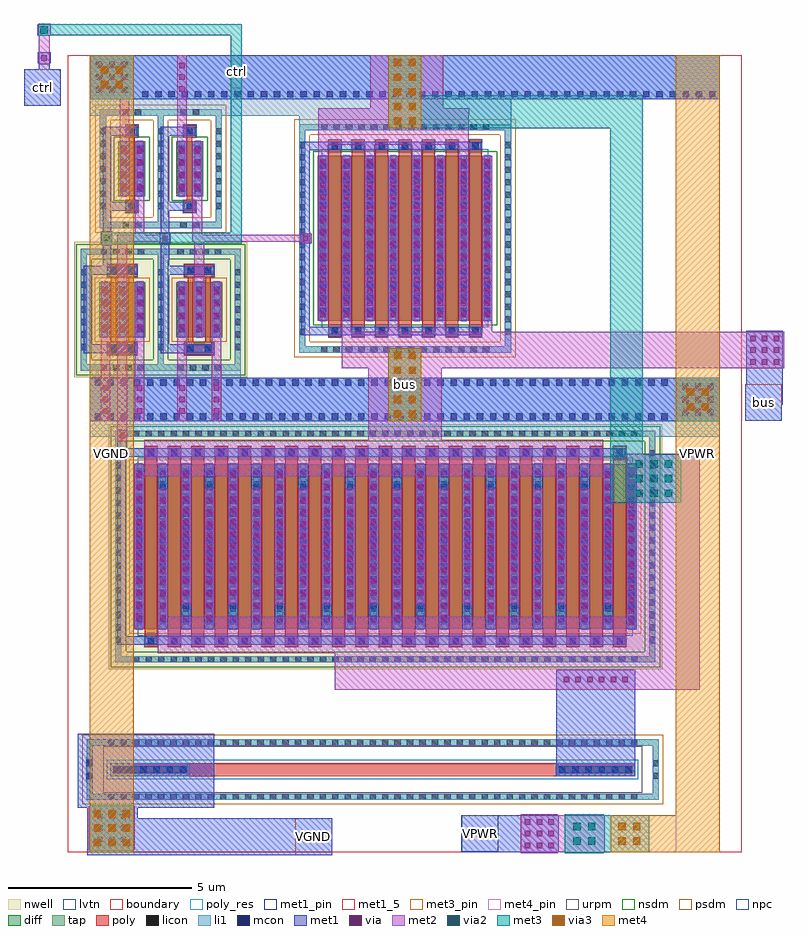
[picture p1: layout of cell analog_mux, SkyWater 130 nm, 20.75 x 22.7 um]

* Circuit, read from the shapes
.subckt analog_mux VGND VPWR bus ctrl
XM1 n1 ctrl VGND VGND sky130_fd_pr__nfet_01v8 w=1.5 l=0.15
XM2 n2 n1 VGND VGND sky130_fd_pr__nfet_01v8 w=1.5 l=0.15
XM3 bus n2 n3 VGND sky130_fd_pr__nfet_01v8_lvt w=4.5 l=0.35 m=7
XM4 n1 ctrl VPWR VPWR sky130_fd_pr__pfet_01v8 w=1.5 l=0.15 m=2
XM5 n3 n1 bus VPWR sky130_fd_pr__pfet_01v8_lvt w=4.5 l=0.35 m=21
XM6 n2 n1 VPWR VPWR sky130_fd_pr__pfet_01v8 w=1.5 l=0.15 m=2
XR7 n3 VGND VGND sky130_fd_pr__res_xhigh_po w=0.35 l=10
.ends

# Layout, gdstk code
from math import pi, radians
import gdstk
lib = gdstk.Library(unit=1e-6, precision=1e-09)
def R(c, l, rs):  # rectangles x0, y0, x1, y1
    for r in rs: c.add(gdstk.rectangle(r[:2], r[2:], *l))
def A(c, l, x, y, w, h, nx, ny, dx, dy):  # array of equal rectangles
    R(c, l, [(x+i*dx, y+j*dy, x+i*dx+w, y+j*dy+h) for i in range(nx) for j in range(ny)])
nwell = (64, 20)
diff = (65, 20)
tap = (65, 44)
poly_res = (66, 13)
poly = (66, 20)
licon = (66, 44)
li1 = (67, 20)
mcon = (67, 44)
met1_5 = (68, 5)
met1_pin = (68, 16)
met1 = (68, 20)
via = (68, 44)
met2 = (69, 20)
via2 = (69, 44)
met3_pin = (70, 16)
met3 = (70, 20)
via3 = (70, 44)
met4_pin = (71, 16)
met4 = (71, 20)
urpm = (79, 20)
nsdm = (93, 44)
psdm = (94, 20)
npc = (95, 20)
lvtn = (125, 44)
boundary = (235, 4)

sky130_fd_pr__res_xhigh_ = lib.new_cell('sky130_fd_pr__res_xhigh_po_0p35_KNBXRF')
R(sky130_fd_pr__res_xhigh_, tap, [(-0.825,-7.81,0.825,-7.64), (-0.825,-7.64,-0.655,7.64), (0.655,-7.64,0.825,7.64), (-0.825,7.64,0.825,7.81)])
R(sky130_fd_pr__res_xhigh_, poly_res, [(-0.175,-5.06,0.175,5.06)])
R(sky130_fd_pr__res_xhigh_, poly, [(-0.175,-7.16,0.175,7.16)])
A(sky130_fd_pr__res_xhigh_, licon, -0.825, -7.225, 0.17, 0.17, 1, 43, 0, 0.34)
A(sky130_fd_pr__res_xhigh_, licon, 0.655, -7.225, 0.17, 0.17, 1, 43, 0, 0.34)
R(sky130_fd_pr__res_xhigh_, licon, [(-0.255,-7.81,-0.085,-7.64), (0.085,-7.81,0.255,-7.64), (-0.095,-7.08,0.095,-5.08), (-0.095,5.08,0.095,7.08), (-0.255,7.64,-0.085,7.81), (0.085,7.64,0.255,7.81)])
R(sky130_fd_pr__res_xhigh_, li1, [(-0.825,-7.81,0.825,-7.64), (-0.825,-7.64,-0.655,7.64), (0.655,-7.64,0.825,7.64), (-0.175,-7.16,0.175,-5), (-0.175,5,0.175,7.16), (-0.825,7.64,0.825,7.81)])
A(sky130_fd_pr__res_xhigh_, mcon, -0.085, -7.065, 0.17, 0.17, 1, 6, 0, 0.36)
A(sky130_fd_pr__res_xhigh_, mcon, -0.085, 5.09, 0.17, 0.17, 1, 6, 0, 0.36)
R(sky130_fd_pr__res_xhigh_, met1, [(-0.125,-7.13,0.125,-5.025), (-0.125,5.025,0.125,7.13)])
R(sky130_fd_pr__res_xhigh_, urpm, [(-0.635,-7.36,0.635,7.36)])
R(sky130_fd_pr__res_xhigh_, psdm, [(-0.95,-7.935,0.95,7.935)])
R(sky130_fd_pr__res_xhigh_, npc, [(-0.27,-7.255,0.27,7.255)])
R(sky130_fd_pr__res_xhigh_, boundary, [(-0.74,-7.725,0.74,7.725)])

sky130_fd_pr__pfet_01v8_ = lib.new_cell('sky130_fd_pr__pfet_01v8_XJBLHL')
R(sky130_fd_pr__pfet_01v8_, nwell, [(-1.315,-1.845,1.315,1.845)])
R(sky130_fd_pr__pfet_01v8_, diff, [(-0.625,-0.75,0.625,0.75)])
R(sky130_fd_pr__pfet_01v8_, tap, [(-1.135,-1.665,1.135,-1.495), (-1.135,-1.495,-0.965,1.495), (0.965,-1.495,1.135,1.495), (-1.135,1.495,1.135,1.665)])
R(sky130_fd_pr__pfet_01v8_, poly, [(-0.41,-1.24,0.41,-0.9), (-0.315,-0.9,-0.165,0.9), (0.165,-0.9,0.315,0.9), (-0.41,0.9,0.41,1.24)])
A(sky130_fd_pr__pfet_01v8_, licon, -0.595, -1.665, 0.17, 0.17, 4, 2, 0.34, 3.16)
A(sky130_fd_pr__pfet_01v8_, licon, -1.135, -1.105, 0.17, 0.17, 1, 7, 0, 0.34)
A(sky130_fd_pr__pfet_01v8_, licon, 0.965, -1.105, 0.17, 0.17, 1, 7, 0, 0.34)
A(sky130_fd_pr__pfet_01v8_, licon, -0.565, -0.595, 0.17, 0.17, 3, 4, 0.48, 0.34)
R(sky130_fd_pr__pfet_01v8_, licon, [(-0.325,-1.155,-0.155,-0.985), (0.155,-1.155,0.325,-0.985), (-0.325,0.985,-0.155,1.155), (0.155,0.985,0.325,1.155)])
A(sky130_fd_pr__pfet_01v8_, li1, -0.565, -0.77, 0.17, 1.54, 3, 1, 0.48, 0)
R(sky130_fd_pr__pfet_01v8_, li1, [(-1.135,-1.665,1.135,-1.495), (-1.135,-1.495,-0.965,1.495), (0.965,-1.495,1.135,1.495), (-0.41,-1.16,0.41,-0.98), (-0.41,0.98,0.41,1.16), (-1.135,1.495,1.135,1.665)])
A(sky130_fd_pr__pfet_01v8_, mcon, -0.565, -0.625, 0.17, 0.17, 3, 4, 0.48, 0.36)
R(sky130_fd_pr__pfet_01v8_, mcon, [(-0.325,-1.155,-0.155,-0.985), (0.155,-1.155,0.325,-0.985), (-0.325,0.985,-0.155,1.155), (0.155,0.985,0.325,1.155)])
A(sky130_fd_pr__pfet_01v8_, met1, -0.595, -0.75, 0.23, 1.5, 3, 1, 0.48, 0)
R(sky130_fd_pr__pfet_01v8_, met1, [(-0.41,-1.19,0.41,-0.95), (-0.41,0.95,0.41,1.19)])
R(sky130_fd_pr__pfet_01v8_, nsdm, [(-1.26,-1.79,1.26,-1.37), (-1.26,-1.37,-0.84,1.37), (0.84,-1.37,1.26,1.37), (-1.26,1.37,1.26,1.79)])
R(sky130_fd_pr__pfet_01v8_, psdm, [(-0.75,-0.875,0.75,0.875)])
R(sky130_fd_pr__pfet_01v8_, npc, [(-0.425,-1.255,0.425,-0.885), (-0.425,0.885,0.425,1.255)])
R(sky130_fd_pr__pfet_01v8_, boundary, [(-1.05,-1.58,1.05,1.58)])

c_sky130_fd_pr__pfet_01v8_ = lib.new_cell('sky130_fd_pr__pfet_01v8_lvt_MUCXQQ')
R(c_sky130_fd_pr__pfet_01v8_, nwell, [(-7.555,-3.345,7.555,3.345)])
R(c_sky130_fd_pr__pfet_01v8_, diff, [(-6.865,-2.25,6.865,2.25)])
R(c_sky130_fd_pr__pfet_01v8_, tap, [(-7.375,-3.165,7.375,-2.995), (-7.375,-2.995,-7.205,2.995), (7.205,-2.995,7.375,2.995), (-7.375,2.995,7.375,3.165)])
A(c_sky130_fd_pr__pfet_01v8_, poly, -6.575, -2.735, 0.35, 5.47, 21, 1, 0.64, 0)
A(c_sky130_fd_pr__pfet_01v8_, licon, -6.885, -3.165, 0.17, 0.17, 41, 2, 0.34, 6.16)
A(c_sky130_fd_pr__pfet_01v8_, licon, -6.485, -2.655, 0.17, 0.17, 21, 2, 0.64, 5.14)
A(c_sky130_fd_pr__pfet_01v8_, licon, -7.375, -2.635, 0.17, 0.17, 1, 16, 0, 0.34)
A(c_sky130_fd_pr__pfet_01v8_, licon, 7.205, -2.635, 0.17, 0.17, 1, 16, 0, 0.34)
A(c_sky130_fd_pr__pfet_01v8_, licon, -6.805, -2.125, 0.17, 0.17, 22, 13, 0.64, 0.34)
A(c_sky130_fd_pr__pfet_01v8_, li1, -6.575, -2.655, 0.35, 0.17, 21, 2, 0.64, 5.14)
A(c_sky130_fd_pr__pfet_01v8_, li1, -6.805, -2.27, 0.17, 4.54, 22, 1, 0.64, 0)
R(c_sky130_fd_pr__pfet_01v8_, li1, [(-7.375,-3.165,7.375,-2.995), (-7.375,-2.995,-7.205,2.995), (7.205,-2.995,7.375,2.995), (-7.375,2.995,7.375,3.165)])
A(c_sky130_fd_pr__pfet_01v8_, mcon, -6.485, -2.655, 0.17, 0.17, 21, 2, 0.64, 5.14)
A(c_sky130_fd_pr__pfet_01v8_, mcon, -6.805, -2.065, 0.17, 0.17, 22, 12, 0.64, 0.36)
A(c_sky130_fd_pr__pfet_01v8_, met1, -6.555, -2.685, 0.31, 0.23, 21, 2, 0.64, 5.14)
A(c_sky130_fd_pr__pfet_01v8_, met1, -6.835, -2.25, 0.23, 4.5, 22, 1, 0.64, 0)
R(c_sky130_fd_pr__pfet_01v8_, nsdm, [(-7.5,-3.29,7.5,-2.87), (-7.5,-2.87,-7.08,2.87), (7.08,-2.87,7.5,2.87), (-7.5,2.87,7.5,3.29)])
R(c_sky130_fd_pr__pfet_01v8_, psdm, [(-6.99,-2.375,6.99,2.375)])
A(c_sky130_fd_pr__pfet_01v8_, npc, -6.585, -2.755, 0.37, 0.37, 21, 2, 0.64, 5.14)
R(c_sky130_fd_pr__pfet_01v8_, lvtn, [(-6.755,-2.43,6.755,2.43)])
R(c_sky130_fd_pr__pfet_01v8_, boundary, [(-7.29,-3.08,7.29,3.08)])

sky130_fd_pr__nfet_01v8_ = lib.new_cell('sky130_fd_pr__nfet_01v8_NRQ53D')
R(sky130_fd_pr__nfet_01v8_, diff, [(-0.365,-0.75,0.365,0.75)])
R(sky130_fd_pr__nfet_01v8_, tap, [(-0.875,-1.62,0.875,-1.45), (-0.875,-1.45,-0.705,1.45), (0.705,-1.45,0.875,1.45), (-0.875,1.45,0.875,1.62)])
R(sky130_fd_pr__nfet_01v8_, poly, [(-0.165,-1.19,0.165,-0.86), (-0.075,-0.86,0.075,0.86), (-0.165,0.86,0.165,1.19)])
A(sky130_fd_pr__nfet_01v8_, licon, -0.875, -1.105, 0.17, 0.17, 1, 7, 0, 0.34)
A(sky130_fd_pr__nfet_01v8_, licon, 0.705, -1.105, 0.17, 0.17, 1, 7, 0, 0.34)
A(sky130_fd_pr__nfet_01v8_, licon, -0.305, -0.595, 0.17, 0.17, 1, 4, 0, 0.34)
A(sky130_fd_pr__nfet_01v8_, licon, 0.135, -0.595, 0.17, 0.17, 1, 4, 0, 0.34)
R(sky130_fd_pr__nfet_01v8_, licon, [(-0.255,-1.62,-0.085,-1.45), (0.085,-1.62,0.255,-1.45), (-0.085,-1.11,0.085,-0.94), (-0.085,0.94,0.085,1.11), (-0.255,1.45,-0.085,1.62), (0.085,1.45,0.255,1.62)])
R(sky130_fd_pr__nfet_01v8_, li1, [(-0.875,-1.62,0.875,-1.45), (-0.875,-1.45,-0.705,1.45), (0.705,-1.45,0.875,1.45), (-0.165,-1.11,0.165,-0.94), (-0.305,-0.77,-0.135,0.77), (0.135,-0.77,0.305,0.77), (-0.165,0.94,0.165,1.11), (-0.875,1.45,0.875,1.62)])
A(sky130_fd_pr__nfet_01v8_, mcon, -0.305, -0.625, 0.17, 0.17, 1, 4, 0, 0.36)
A(sky130_fd_pr__nfet_01v8_, mcon, 0.135, -0.625, 0.17, 0.17, 1, 4, 0, 0.36)
R(sky130_fd_pr__nfet_01v8_, mcon, [(-0.085,-1.11,0.085,-0.94), (-0.085,0.94,0.085,1.11)])
R(sky130_fd_pr__nfet_01v8_, met1, [(-0.145,-1.14,0.145,-0.91), (-0.335,-0.75,-0.105,0.75), (0.105,-0.75,0.335,0.75), (-0.145,0.91,0.145,1.14)])
R(sky130_fd_pr__nfet_01v8_, nsdm, [(-0.49,-0.875,0.49,0.875)])
R(sky130_fd_pr__nfet_01v8_, psdm, [(-1,-1.745,1,-1.325), (-1,-1.325,-0.58,1.325), (0.58,-1.325,1,1.325), (-1,1.325,1,1.745)])
R(sky130_fd_pr__nfet_01v8_, npc, [(-0.185,-1.21,0.185,-0.84), (-0.185,0.84,0.185,1.21)])
R(sky130_fd_pr__nfet_01v8_, boundary, [(-0.79,-1.535,0.79,1.535)])

c_sky130_fd_pr__nfet_01v8_ = lib.new_cell('sky130_fd_pr__nfet_01v8_lvt_9LK66Y')
R(c_sky130_fd_pr__nfet_01v8_, diff, [(-2.385,-2.25,2.385,2.25)])
R(c_sky130_fd_pr__nfet_01v8_, tap, [(-2.895,-3.12,2.895,-2.95), (-2.895,-2.95,-2.725,2.95), (2.725,-2.95,2.895,2.95), (-2.895,2.95,2.895,3.12)])
A(c_sky130_fd_pr__nfet_01v8_, poly, -2.095, -2.69, 0.35, 5.38, 7, 1, 0.64, 0)
A(c_sky130_fd_pr__nfet_01v8_, licon, -2.295, -3.12, 0.17, 0.17, 14, 2, 0.34, 6.07)
A(c_sky130_fd_pr__nfet_01v8_, licon, -2.895, -2.635, 0.17, 0.17, 1, 16, 0, 0.34)
A(c_sky130_fd_pr__nfet_01v8_, licon, 2.725, -2.635, 0.17, 0.17, 1, 16, 0, 0.34)
A(c_sky130_fd_pr__nfet_01v8_, licon, -2.005, -2.61, 0.17, 0.17, 7, 2, 0.64, 5.05)
A(c_sky130_fd_pr__nfet_01v8_, licon, -2.325, -2.125, 0.17, 0.17, 8, 13, 0.64, 0.34)
A(c_sky130_fd_pr__nfet_01v8_, li1, -2.095, -2.61, 0.35, 0.17, 7, 2, 0.64, 5.05)
A(c_sky130_fd_pr__nfet_01v8_, li1, -2.325, -2.27, 0.17, 4.54, 8, 1, 0.64, 0)
R(c_sky130_fd_pr__nfet_01v8_, li1, [(-2.895,-3.12,2.895,-2.95), (-2.895,-2.95,-2.725,2.95), (2.725,-2.95,2.895,2.95), (-2.895,2.95,2.895,3.12)])
A(c_sky130_fd_pr__nfet_01v8_, mcon, -2.005, -2.61, 0.17, 0.17, 7, 2, 0.64, 5.05)
A(c_sky130_fd_pr__nfet_01v8_, mcon, -2.325, -2.065, 0.17, 0.17, 8, 12, 0.64, 0.36)
A(c_sky130_fd_pr__nfet_01v8_, met1, -2.075, -2.64, 0.31, 0.23, 7, 2, 0.64, 5.05)
A(c_sky130_fd_pr__nfet_01v8_, met1, -2.355, -2.25, 0.23, 4.5, 8, 1, 0.64, 0)
R(c_sky130_fd_pr__nfet_01v8_, nsdm, [(-2.51,-2.375,2.51,2.375)])
R(c_sky130_fd_pr__nfet_01v8_, psdm, [(-3.02,-3.245,3.02,-2.825), (-3.02,-2.825,-2.6,2.825), (2.6,-2.825,3.02,2.825), (-3.02,2.825,3.02,3.245)])
A(c_sky130_fd_pr__nfet_01v8_, npc, -2.105, -2.71, 0.37, 0.37, 7, 2, 0.64, 5.05)
R(c_sky130_fd_pr__nfet_01v8_, lvtn, [(-2.275,-2.43,2.275,2.43)])
R(c_sky130_fd_pr__nfet_01v8_, boundary, [(-2.81,-3.035,2.81,3.035)])

analog_mux = lib.new_cell('analog_mux')
R(analog_mux, li1, [(0.5,1.91,0.67,2.6), (0.6,11.34,17.8,12.96), (0.6,12.96,4.72,13.32), (6.31,19.71,12.1,20.1), (0.6,20.1,12.1,20.56), (0.6,20.56,17.8,21.76)])
A(analog_mux, mcon, 0.725, 11.81, 0.17, 0.17, 44, 2, 0.36, 0.93)
A(analog_mux, mcon, 16.755, 11.915, 0.17, 0.17, 3, 3, 0.36, 0.36)
A(analog_mux, mcon, 2.025, 20.61, 0.17, 0.17, 44, 1, 0.36, 0)
A(analog_mux, mcon, 0.755, 20.715, 0.17, 0.17, 3, 3, 0.36, 0.36)
R(analog_mux, mcon, [(0.5,1.99,0.67,2.16), (0.5,2.35,0.67,2.52)])
R(analog_mux, met1_5, [(6.21,-0.08,7.21,0.92), (18.49,11.78,19.49,12.78), (-1.2,20.38,-0.2,21.38)])
R(analog_mux, met1_pin, [(10.75,0.01,11.75,1.01)])
A(analog_mux, met1, 1.81, 6.09, 0.27, 4.51, 22, 1, 0.64, 0)
A(analog_mux, met1, 6.83, 14.51, 0.27, 4.5, 8, 1, 0.64, 0)
R(analog_mux, met1, [(0.53,-0.08,7.21,0.92), (10.74,0,13.405,1.01), (0.53,0.92,1.91,1.22), (0.27,1.22,3.99,3.23), (13.33,2.07,15.49,4.98), (1.35,5.66,15.22,5.89), (1.35,5.89,1.58,10.8), (1.35,10.8,15.22,11.03), (1.35,11.03,1.62,11.54), (0.6,11.76,17.8,12.96), (18.49,11.78,19.49,12.21), (18.49,12.21,19.52,12.78), (18.52,12.78,19.52,14.24), (0.43,13.62,1.9,13.87), (2.53,13.62,4,13.87), (0.43,13.87,0.66,15.76), (2.53,13.87,2.76,15.76), (0.89,14.06,1.15,15.57), (1.35,14.06,1.62,15.57), (1.82,14.06,2.08,15.57), (2.99,14.06,3.25,15.57), (3.45,14.06,3.72,15.57), (3.92,14.06,4.18,15.57), (6.37,14.12,11.28,14.35), (6.37,14.35,6.6,16.6), (0.43,15.76,1.9,16.01), (2.53,15.76,4,16.01), (0.95,16.01,1.18,16.58), (2.53,16.01,2.76,16.6), (0.92,16.58,1.21,16.94), (2.51,16.6,2.78,16.92), (6.35,16.6,6.62,16.92), (2.53,16.92,2.76,17.51), (6.37,16.92,6.6,19.17), (0.95,16.94,1.18,17.51), (0.95,17.51,1.89,17.76), (2.53,17.51,3.47,17.76), (0.95,17.76,1.18,19.56), (2.53,17.76,2.76,19.56), (1.41,17.91,1.67,19.41), (1.82,17.91,2.08,19.41), (2.99,17.91,3.25,19.41), (3.4,17.91,3.66,19.41), (6.37,19.17,11.28,19.4), (0.95,19.56,1.89,19.81), (2.53,19.56,3.47,19.81), (-1.2,20.38,-0.2,21.38), (0.6,20.56,17.8,21.76), (-0.8,21.38,-0.5,21.54), (-0.83,21.54,-0.47,21.84)])
A(analog_mux, via, 12.475, 0.11, 0.15, 0.15, 3, 3, 0.32, 0.32)
A(analog_mux, via, 0.805, 0.265, 0.15, 0.15, 3, 3, 0.32, 0.32)
A(analog_mux, via, 13.535, 4.635, 0.15, 0.15, 6, 1, 0.32, 0)
A(analog_mux, via, 15.31, 6.19, 0.15, 0.15, 1, 14, 0, 0.32)
A(analog_mux, via, 2.51, 6.33, 0.15, 0.15, 10, 11, 1.28, 0.32)
A(analog_mux, via, 1.87, 7.01, 0.15, 0.15, 11, 11, 1.28, 0.32)
A(analog_mux, via, 0.945, 11.965, 0.15, 0.15, 1, 3, 0, 0.32)
A(analog_mux, via, 1.875, 11.965, 0.15, 0.15, 1, 3, 0, 0.32)
A(analog_mux, via, 3.045, 11.965, 0.15, 0.15, 1, 3, 0, 0.32)
A(analog_mux, via, 3.975, 11.965, 0.15, 0.15, 1, 3, 0, 0.32)
A(analog_mux, via, 16.805, 11.965, 0.15, 0.15, 3, 3, 0.32, 0.32)
A(analog_mux, via, 18.625, 13.315, 0.15, 0.15, 3, 3, 0.32, 0.32)
A(analog_mux, via, 0.945, 14.26, 0.15, 0.15, 3, 4, 0.465, 0.32)
A(analog_mux, via, 3.045, 14.26, 0.15, 0.15, 3, 4, 0.465, 0.32)
A(analog_mux, via, 6.89, 14.605, 0.15, 0.15, 8, 14, 0.64, 0.32)
A(analog_mux, via, 1.465, 18.105, 0.15, 0.15, 1, 4, 0, 0.32)
A(analog_mux, via, 1.875, 18.105, 0.15, 0.15, 1, 4, 0, 0.32)
A(analog_mux, via, 3.045, 18.105, 0.15, 0.15, 1, 4, 0, 0.32)
A(analog_mux, via, 3.455, 18.105, 0.15, 0.15, 1, 4, 0, 0.32)
A(analog_mux, via, 0.805, 20.765, 0.15, 0.15, 3, 3, 0.32, 0.32)
A(analog_mux, via, 3.045, 20.765, 0.15, 0.15, 1, 3, 0, 0.32)
R(analog_mux, via, [(1.87,6.37,2.02,6.52), (1.87,6.69,2.02,6.84), (1.41,11.305,1.56,11.455), (0.99,16.685,1.14,16.835), (2.57,16.685,2.72,16.835), (6.41,16.685,6.56,16.835), (-0.725,21.615,-0.575,21.765)])
A(analog_mux, met2, 2.45, 6.43, 0.27, 3.49, 10, 1, 1.28, 0)
A(analog_mux, met2, 3.09, 6.77, 0.27, 3.49, 10, 1, 1.28, 0)
A(analog_mux, met2, 7.47, 14.21, 0.27, 4.8, 4, 1, 1.28, 0)
A(analog_mux, met2, 6.83, 14.51, 0.27, 4.8, 4, 1, 1.28, 0)
R(analog_mux, met2, [(12.365,-0.03,13.375,0), (12.365,0,14.65,1.01), (0.625,0.04,1.775,0.06), (0.57,0.06,1.83,1.26), (12.365,1.01,13.375,1.04), (0.625,1.26,1.775,1.28), (7.29,4.43,17.25,5.43), (2.45,5.43,17.25,6.43), (1.81,6.09,2.08,10.26), (15.25,6.43,17.25,10.88), (1.81,10.26,14.89,10.6), (2.08,10.6,14.61,11.26), (1.35,11.22,1.62,16.66), (8.2,11.26,10.2,13.21), (0.89,11.76,1.15,15.57), (1.82,11.76,2.08,15.57), (2.99,11.76,3.25,15.57), (3.92,11.76,4.18,15.57), (16.6,11.76,17.8,12.96), (7.47,13.21,19.55,14.21), (3.45,14.06,3.72,16.66), (0.92,16.56,1.21,16.96), (2.48,16.63,2.81,16.66), (6.32,16.63,6.65,16.66), (1.35,16.66,2.81,16.86), (3.4,16.66,6.65,16.86), (1.82,16.86,2.08,19.41), (2.48,16.86,2.81,16.89), (3.4,16.86,3.66,19.41), (6.32,16.86,6.65,16.89), (1.41,17.91,1.67,20.56), (2.99,17.91,3.25,21.76), (6.83,19.31,10.94,20.13), (6.83,20.13,10.95,20.31), (8.25,20.31,10.25,21.76), (0.6,20.56,1.8,21.76), (-0.8,21.51,-0.5,22.31), (-0.835,22.31,-0.465,22.59), (-0.8,22.59,-0.5,22.6)])
A(analog_mux, via2, 0.7, 0.16, 0.2, 0.2, 3, 3, 0.4, 0.4)
A(analog_mux, via2, 15.5, 9.7, 0.2, 0.2, 3, 3, 0.4, 0.4)
A(analog_mux, via2, 8.9, 11.86, 0.2, 0.2, 1, 5, 0, 0.4)
A(analog_mux, via2, 9.3, 11.86, 0.2, 0.2, 1, 5, 0, 0.4)
A(analog_mux, via2, 8.9, 19.86, 0.2, 0.2, 1, 5, 0, 0.4)
A(analog_mux, via2, 9.3, 19.86, 0.2, 0.2, 1, 5, 0, 0.4)
R(analog_mux, via2, [(13.8,0.205,14,0.405), (14.2,0.205,14.4,0.405), (13.8,0.605,14,0.805), (14.2,0.605,14.4,0.805), (16.9,12.06,17.1,12.26), (17.3,12.06,17.5,12.26), (16.9,12.46,17.1,12.66), (17.3,12.46,17.5,12.66), (0.965,16.66,1.165,16.86), (0.9,20.86,1.1,21.06), (1.3,20.86,1.5,21.06), (0.9,21.26,1.1,21.46), (1.3,21.26,1.5,21.46), (-0.75,22.35,-0.55,22.55)])
R(analog_mux, met3_pin, [(4.45,20.86,4.75,21.76)])
R(analog_mux, met3, [(13.57,-0.025,14.63,0), (13.57,0,15.865,1.01), (0.605,0.035,1.795,0.06), (0.6,0.06,1.8,1.26), (13.57,1.01,14.63,1.035), (0.605,1.26,1.795,1.285), (14.8,9.54,16.75,10.86), (14.8,10.86,15.7,19.76), (8.75,11.76,9.65,13.76), (16.6,11.76,17.8,12.96), (0.89,16.58,1.24,16.61), (0.89,16.61,4.75,16.91), (0.89,16.91,1.24,16.94), (4.45,16.91,4.75,22.3), (8.75,19.76,15.7,20.66), (0.6,20.56,1.8,21.76), (8.75,20.66,9.65,21.76), (-0.815,22.285,-0.485,22.3), (-0.815,22.3,4.75,22.6), (-0.815,22.6,-0.485,22.615)])
A(analog_mux, via3, 0.7, 0.16, 0.2, 0.2, 3, 3, 0.4, 0.4)
A(analog_mux, via3, 8.9, 11.86, 0.2, 0.2, 1, 5, 0, 0.4)
A(analog_mux, via3, 9.3, 11.86, 0.2, 0.2, 1, 5, 0, 0.4)
A(analog_mux, via3, 8.9, 19.86, 0.2, 0.2, 1, 5, 0, 0.4)
A(analog_mux, via3, 9.3, 19.86, 0.2, 0.2, 1, 5, 0, 0.4)
R(analog_mux, via3, [(15.03,0.205,15.23,0.405), (15.43,0.205,15.63,0.405), (15.03,0.605,15.23,0.805), (15.43,0.605,15.63,0.805), (16.9,12.06,17.1,12.26), (17.3,12.06,17.5,12.26), (16.9,12.46,17.1,12.66), (17.3,12.46,17.5,12.66), (0.9,20.86,1.1,21.06), (1.3,20.86,1.5,21.06), (0.9,21.26,1.1,21.46), (1.3,21.26,1.5,21.46)])
R(analog_mux, met4_pin, [(0.6,0,1.8,21.76), (16.6,0,17.8,21.76), (8.75,11.76,9.65,13.76)])
R(analog_mux, met4, [(14.82,-0.005,15.84,0), (0.6,0,1.8,21.76), (14.82,0,17.8,1.01), (14.82,1.01,15.84,1.015), (16.6,1.01,17.8,21.76), (8.75,11.76,9.65,13.76), (8.75,19.76,9.65,21.76)])
R(analog_mux, boundary, [(0,0,18.4,21.76)])
analog_mux.add(gdstk.Reference(sky130_fd_pr__res_xhigh_, (8.32,2.255), rotation=3*pi/2))
analog_mux.add(gdstk.Reference(sky130_fd_pr__pfet_01v8_, (3.585,14.815)))
analog_mux.add(gdstk.Reference(sky130_fd_pr__pfet_01v8_, (1.485,14.815)))
analog_mux.add(gdstk.Reference(c_sky130_fd_pr__pfet_01v8_, (8.665,8.345)))
analog_mux.add(gdstk.Reference(sky130_fd_pr__nfet_01v8_, (1.745,18.66)))
analog_mux.add(gdstk.Reference(sky130_fd_pr__nfet_01v8_, (3.325,18.66)))
analog_mux.add(gdstk.Reference(c_sky130_fd_pr__nfet_01v8_, (9.205,16.76)))
analog_mux.add(gdstk.Label('VGND', (6.71,0.42), layer=68, texttype=5))
analog_mux.add(gdstk.Label('bus', (18.99,12.28), layer=68, texttype=5))
analog_mux.add(gdstk.Label('ctrl', (-0.7,20.88), layer=68, texttype=5))
analog_mux.add(gdstk.Label('VPWR', (11.25,0.51), layer=68, texttype=5))
analog_mux.add(gdstk.Label('VGND', (1.2,10.88), layer=71, texttype=5))
analog_mux.add(gdstk.Label('VPWR', (17.2,10.88), layer=71, texttype=5))
analog_mux.add(gdstk.Label('bus', (9.2,12.76), layer=71, texttype=5))
analog_mux.add(gdstk.Label('ctrl', (4.6,21.31), layer=70, texttype=5))

lib.write_gds('analog_mux.gds')
